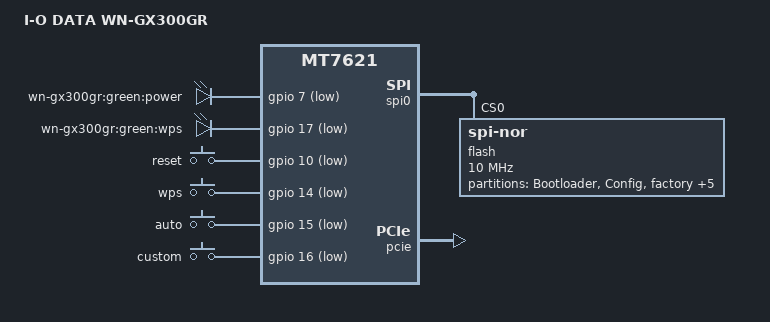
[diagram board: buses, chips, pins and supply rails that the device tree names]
/dts-v1/;

#include "mt7621.dtsi"

#include <dt-bindings/gpio/gpio.h>
#include <dt-bindings/input/input.h>

/ {
	compatible = "iodata,wn-gx300gr", "mediatek,mt7621-soc";
	model = "I-O DATA WN-GX300GR";

	aliases {
		led-boot = &led_power;
		led-failsafe = &led_power;
		led-running = &led_power;
		led-upgrade = &led_power;
	};

	chosen {
		bootargs = "console=ttyS0,115200";
	};

	leds {
		compatible = "gpio-leds";

		led_power: power {
			label = "wn-gx300gr:green:power";
			gpios = <&gpio 7 GPIO_ACTIVE_LOW>;
		};

		wps {
			label = "wn-gx300gr:green:wps";
			gpios = <&gpio 17 GPIO_ACTIVE_LOW>;
		};
	};

	keys {
		compatible = "gpio-keys";

		reset {
			label = "reset";
			gpios = <&gpio 10 GPIO_ACTIVE_LOW>;
			linux,code = <KEY_RESTART>;
		};

		wps {
			label = "wps";
			gpios = <&gpio 14 GPIO_ACTIVE_LOW>;
			linux,code = <KEY_WPS_BUTTON>;
		};

		auto {
			label = "auto";
			gpios = <&gpio 15 GPIO_ACTIVE_LOW>;
			linux,code = <BTN_0>;
			linux,input-type = <EV_SW>;
		};

		custom {
			label = "custom";
			gpios = <&gpio 16 GPIO_ACTIVE_LOW>;
			linux,code = <BTN_0>;
			linux,input-type = <EV_SW>;
		};
	};
};

&spi0 {
	status = "okay";

	flash@0 {
		compatible = "jedec,spi-nor";
		reg = <0>;
		spi-max-frequency = <10000000>;

		partitions {
			compatible = "fixed-partitions";
			#address-cells = <1>;
			#size-cells = <1>;

			partition@0 {
				label = "Bootloader";
				reg = <0x0 0x30000>;
				read-only;
			};

			partition@30000 {
				label = "Config";
				reg = <0x30000 0x10000>;
				read-only;
			};

			factory: partition@40000 {
				label = "factory";
				reg = <0x40000 0x10000>;
				read-only;
			};

			partition@50000 {
				label = "iNIC_rf";
				reg = <0x50000 0x10000>;
				read-only;
			};

			partition@60000 {
				compatible = "denx,uimage";
				label = "firmware";
				reg = <0x60000 0x770000>;
			};

			partition@7d0000 {
				label = "Key";
				reg = <0x7d0000 0x10000>;
				read-only;
			};

			partition@7e0000 {
				label = "backup";
				reg = <0x7e0000 0x10000>;
				read-only;
			};

			partition@7f0000 {
				label = "storage";
				reg = <0x7f0000 0x10000>;
				read-only;
			};
		};
	};
};

&gmac0 {
	mtd-mac-address = <&factory 0x4>;
};

&switch0 {
	ports {
		port@0 {
			status = "okay";
			label = "wan";
			mtd-mac-address = <&factory 0x4>;
			mtd-mac-address-increment = <1>;
		};

		port@1 {
			status = "okay";
			label = "lan4";
		};

		port@2 {
			status = "okay";
			label = "lan3";
		};

		port@3 {
			status = "okay";
			label = "lan2";
		};

		port@4 {
			status = "okay";
			label = "lan1";
		};
	};
};

&state_default {
	gpio {
		groups = "uart2", "uart3", "jtag";
		function = "gpio";
	};
};

&pcie {
	status = "okay";
};

&pcie0 {
	mt76@0,0 {
		reg = <0x0000 0 0 0 0>;
		mediatek,mtd-eeprom = <&factory 0x0>;
	};
};

&xhci {
	status = "disabled";
};
